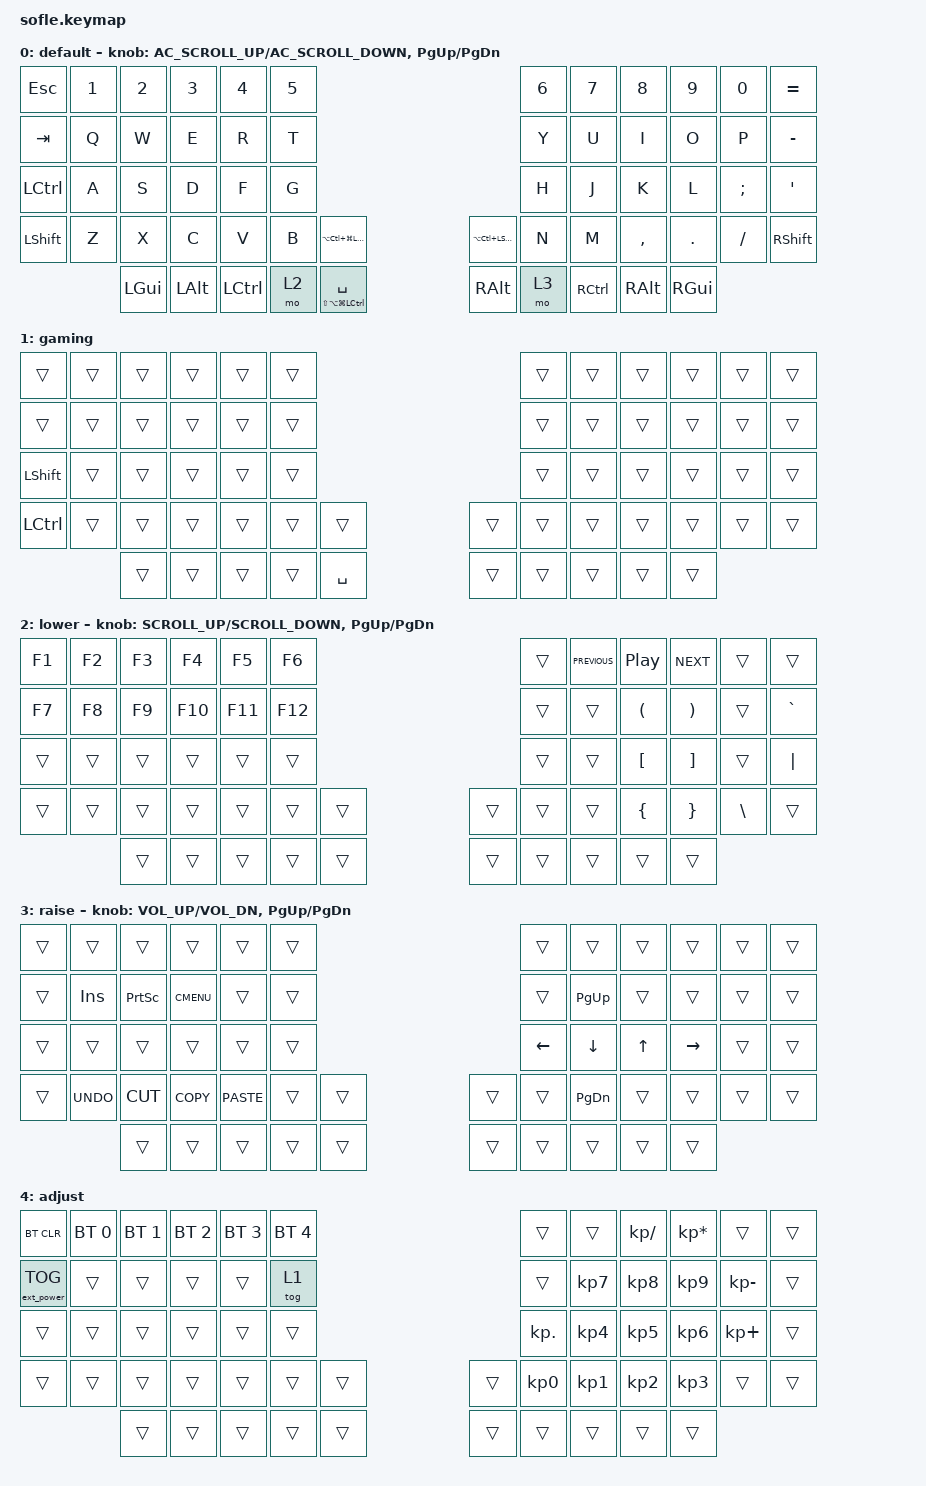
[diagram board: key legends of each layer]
/*
 * Copyright (c) 2020 The ZMK Contributors
 *
 * SPDX-License-Identifier: MIT
 */

#include <behaviors.dtsi>
#include <dt-bindings/zmk/bt.h>
#include <dt-bindings/zmk/ext_power.h>
#include <dt-bindings/zmk/keys.h>

#define BASE 0
#define LOWER 1
#define RAISE 2
#define ADJUST 3
#define GAMING 4

/ {
    // Activate ADJUST layer by pressing raise and lower

    conditional_layers {
        compatible = "zmk,conditional-layers";

        adjust_layer {
            if-layers = <2 3>;
            then-layer = <4>;
        };
    };

    combos {
        compatible = "zmk,combos";

        return-left {
            bindings = <&kp RETURN>;
            key-positions = <26 27 28>;
        };

        return-right {
            bindings = <&kp RETURN>;
            key-positions = <32 33 31>;
        };

        cut {
            bindings = <&kp LG(X)>;
            key-positions = <37 38>;
            layers = <0>;
        };

        copy {
            bindings = <&kp LG(C)>;
            key-positions = <38 39>;
            layers = <0>;
        };

        paste {
            bindings = <&kp LG(V)>;
            key-positions = <39 40>;
            layers = <0>;
        };

        delete-left {
            bindings = <&kp BACKSPACE>;
            key-positions = <28 27>;
            layers = <0 1>;
        };

        delete-right {
            bindings = <&kp BACKSPACE>;
            key-positions = <31 32>;
            layers = <0 1>;
        };

        delete-left-lower {
            bindings = <&kp DELETE>;
            key-positions = <27 28>;
            layers = <2 3>;
        };

        delete-right-raised {
            bindings = <&kp DELETE>;
            key-positions = <32 31>;
            layers = <3 2>;
        };

        hyper {
            bindings = <&kp LS(LA(LC(LGUI)))>;
            key-positions = <36 49>;
        };

        bc_inspect {
            bindings = <&kp LA(LC(F1))>;
            key-positions = <0 1>;
        };
    };

    behaviors {
        esc_or_super: esc_or_super {
            compatible = "zmk,behavior-hold-tap";
            label = "ESC_OR_SUPER";
            bindings = <&kp>, <&kp>;

            #binding-cells = <2>;
            hold-trigger-key-positions = <0>;
            tapping-term-ms = <200>;
        };

        space_or_super: space_or_super {
            compatible = "zmk,behavior-hold-tap";
            label = "SPACE_OR_SUPER";
            bindings = <&kp>, <&kp>;

            #binding-cells = <2>;
            tapping-term-ms = <800>;
        };
    };

    keymap {
        compatible = "zmk,keymap";

        default_layer {
            display-name = "default";

            // ------------------------------------------------------------------------------------------------------------
            // |   `   |  1  |  2  |  3   |  4   |  5   |                   |  6   |  7    |  8    |  9   |   0   |       |
            // |  ESC  |  Q  |  W  |  E   |  R   |  T   |                   |  Y   |  U    |  I    |  O   |   P   | BKSPC |
            // |  TAB  |  A  |  S  |  D   |  F   |  G   |                   |  H   |  J    |  K    |  L   |   ;   |   '   |
            // | SHIFT |  Z  |  X  |  C   |  V   |  B   |  MUTE  |  |       |  N   |  M    |  ,    |  .   |   /   | SHIFT |
            //               | GUI | ALT  | CTRL | LOWER|  ENTER |  | SPACE | RAISE| CTRL  | ALT   | GUI  |

            bindings = <
&kp ESCAPE  &kp N1  &kp N2    &kp N3    &kp N4     &kp N5                                                                     &kp N6  &kp N7     &kp N8     &kp N9    &kp N0    &kp EQUAL
&kp TAB     &kp Q   &kp W     &kp E     &kp R      &kp T                                                                      &kp Y   &kp U      &kp I      &kp O     &kp P     &kp MINUS
&kp LCTRL   &kp A   &kp S     &kp D     &kp F      &kp G                                                                      &kp H   &kp J      &kp K      &kp L     &kp SEMI  &kp SQT
&kp LSHFT   &kp Z   &kp X     &kp C     &kp V      &kp B   &kp LA(LC(LG(LSHFT)))                      &kp LA(LC(LEFT_SHIFT))  &kp N   &kp M      &kp COMMA  &kp DOT   &kp FSLH  &kp RSHFT
                    &kp LGUI  &kp LALT  &kp LCTRL  &mo 2   &space_or_super LS(LA(LG(LCTRL))) SPACE    &kp RALT                &mo 3   &kp RCTRL  &kp RALT   &kp RGUI
            >;

            sensor-bindings =
                <&inc_dec_kp C_AC_SCROLL_UP C_AC_SCROLL_DOWN>,
                <&inc_dec_kp PG_UP PG_DN>;
        };

        gaming_layer {
            display-name = "gaming";
            bindings = <
&trans     &trans  &trans  &trans  &trans  &trans                       &trans  &trans  &trans  &trans  &trans  &trans
&trans     &trans  &trans  &trans  &trans  &trans                       &trans  &trans  &trans  &trans  &trans  &trans
&kp LSHFT  &trans  &trans  &trans  &trans  &trans                       &trans  &trans  &trans  &trans  &trans  &trans
&kp LCTRL  &trans  &trans  &trans  &trans  &trans  &trans       &trans  &trans  &trans  &trans  &trans  &trans  &trans
                   &trans  &trans  &trans  &trans  &kp SPACE    &trans  &trans  &trans  &trans  &trans
            >;
        };

        lower_layer {
            display-name = "lower";

            // TODO: Some binds are waiting for shifted keycode support.
            // ------------------------------------------------------------------------------------------------------------
            // |       |  F1 |  F2 |  F3  |  F4  |  F5  |                   |  F6  |  F7   |  F8   |  F9  |  F10  |  F11  |
            // |   `   |  1  |  2  |  3   |  4   |  5   |                   |  6   |  7    |  8    |  9   |   0   |  F12  |
            // |       |  !  |  @  |  #   |  $   |  %   |                   |  ^   |  &    |  *    |  (   |   )   |   |   |
            // |       |  =  |  -  |  +   |  {   |  }   |        |  |       |  [   |  ]    |  ;    |  :   |   \   |       |
            //               |     |      |      |      |        |  |       |      |       |       |      |

            bindings = <
&kp F1  &kp F2  &kp F3  &kp F4   &kp F5   &kp F6                     &trans  &kp C_PREVIOUS  &kp C_PP              &kp C_NEXT             &trans    &trans
&kp F7  &kp F8  &kp F9  &kp F10  &kp F11  &kp F12                    &trans  &trans          &kp LEFT_PARENTHESIS  &kp RIGHT_PARENTHESIS  &trans    &kp GRAVE
&trans  &trans  &trans  &trans   &trans   &trans                     &trans  &trans          &kp LEFT_BRACKET      &kp RIGHT_BRACKET      &trans    &kp PIPE
&trans  &trans  &trans  &trans   &trans   &trans   &trans    &trans  &trans  &trans          &kp LEFT_BRACE        &kp RIGHT_BRACE        &kp BSLH  &trans
                &trans  &trans   &trans   &trans   &trans    &trans  &trans  &trans          &trans                &trans
            >;

            sensor-bindings =
                <&inc_dec_kp K_SCROLL_UP K_SCROLL_DOWN>,
                <&inc_dec_kp PG_UP PG_DN>;
        };

        raise_layer {
            display-name = "raise";

            // ------------------------------------------------------------------------------------------------------------
            // | BTCLR | BT1  | BT2  |  BT3  |  BT4  |  BT5 |                |      |      |       |      |       |       |
            // |       | INS  | PSCR | GUI   |       |      |                | PGUP |      |   ^   |      |       |       |
            // |       | ALT  | CTRL | SHIFT |       | CAPS |                | PGDN |   <- |   v   |  ->  |  DEL  | BKSPC |
            // |       | UNDO | CUT  | COPY  | PASTE |      |      |  |      |      |      |       |      |       |       |
            //                |      |       |       |      |      |  |      |      |      |       |      |

            bindings = <
&trans  &trans      &trans     &trans       &trans       &trans                    &trans    &trans         &trans  &trans     &trans  &trans
&trans  &kp INS     &kp PSCRN  &kp K_CMENU  &trans       &trans                    &trans    &kp PAGE_UP    &trans  &trans     &trans  &trans
&trans  &trans      &trans     &trans       &trans       &trans                    &kp LEFT  &kp DOWN       &kp UP  &kp RIGHT  &trans  &trans
&trans  &kp K_UNDO  &kp K_CUT  &kp K_COPY   &kp K_PASTE  &trans  &trans    &trans  &trans    &kp PAGE_DOWN  &trans  &trans     &trans  &trans
                    &trans     &trans       &trans       &trans  &trans    &trans  &trans    &trans         &trans  &trans
            >;

            sensor-bindings = <&inc_dec_kp C_VOL_UP C_VOL_DN &inc_dec_kp PG_UP PG_DN>;
        };

        adjust_layer {
            // ----------------------------------------------------------------------------------------------------------------------------
            // | BTCLR  |  BT1    |  BT2    |   BT3   |   BT4   |   BT5   |                  |      |      |       |      |       |       |
            // | EXTPWR | RGB_HUD | RGB_HUI | RGB_SAD | RGB_SAI | RGB_EFF |                  |      |      |       |      |       |       |
            // |        | RGB_BRD | RGB_BRI |         |         |         |                  |      |      |       |      |       |       |
            // |        |         |         |         |         |         | RGB_TOG | |      |      |      |       |      |       |       |
            //                    |         |         |         |         |         | |      |      |      |       |      |

            display-name = "adjust";
            bindings = <
&bt BT_CLR         &bt BT_SEL 0  &bt BT_SEL 1  &bt BT_SEL 2  &bt BT_SEL 3  &bt BT_SEL 4                    &trans      &trans     &kp KP_SLASH  &kp KP_MULTIPLY  &trans        &trans
&ext_power EP_TOG  &trans        &trans        &trans        &trans        &tog 1                          &trans      &kp KP_N7  &kp KP_N8     &kp KP_N9        &kp KP_MINUS  &trans
&trans             &trans        &trans        &trans        &trans        &trans                          &kp KP_DOT  &kp KP_N4  &kp KP_N5     &kp KP_N6        &kp KP_PLUS   &trans
&trans             &trans        &trans        &trans        &trans        &trans        &trans    &trans  &kp KP_N0   &kp KP_N1  &kp KP_N2     &kp KP_N3        &trans        &trans
                                 &trans        &trans        &trans        &trans        &trans    &trans  &trans      &trans     &trans        &trans
            >;
        };
    };
};
